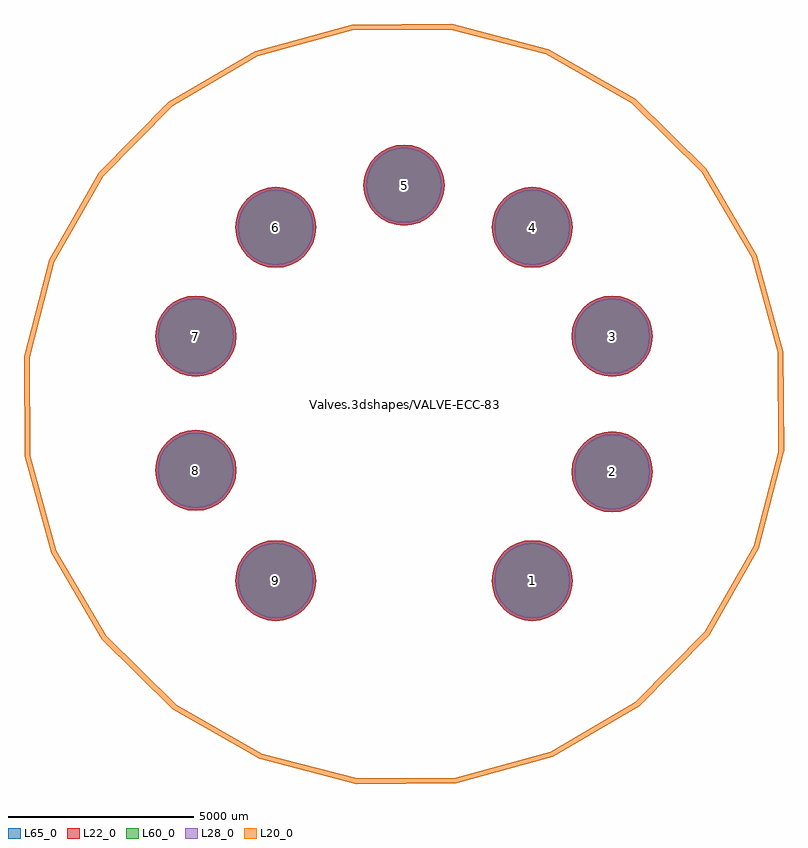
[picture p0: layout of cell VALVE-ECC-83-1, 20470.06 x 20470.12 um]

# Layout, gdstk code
import gdstk
lib = gdstk.Library(unit=1e-6, precision=1e-09)
def P(c, l, *ps):  # polygons
    for p in ps: c.add(gdstk.Polygon(p, *l))
L20_0 = (20, 0)
L22_0 = (22, 0)
L28_0 = (28, 0)
L60_0 = (60, 0)
L65_0 = (65, 0)

valve_ecc_83_1 = lib.new_cell('VALVE-ECC-83-1')
P(valve_ecc_83_1, L22_0, [(-2363.4,-4754.88),(-2384.363,-4542.036),(-2446.447,-4337.372),(-2547.267,-4148.753),(-2682.947,-3983.427),(-2848.273,-3847.747),(-3036.892,-3746.927),(-3241.556,-3684.843),(-3454.4,-3663.88),(-3667.244,-3684.843),(-3871.908,-3746.927),(-4060.527,-3847.747),(-4225.853,-3983.427),(-4361.533,-4148.753),(-4462.353,-4337.372),(-4524.437,-4542.036),(-4545.4,-4754.88),(-4524.437,-4967.724),(-4462.353,-5172.388),(-4361.533,-5361.007),(-4225.853,-5526.333),(-4060.527,-5662.013),(-3871.908,-5762.833),(-3667.244,-5824.917),(-3454.4,-5845.88),(-3241.556,-5824.917),(-3036.892,-5762.833),(-2848.273,-5662.013),(-2682.947,-5526.333),(-2547.267,-5361.007),(-2446.447,-5172.388),(-2384.363,-4967.724)],
  [(-4517.32,-1788.16),(-4538.283,-1575.316),(-4600.367,-1370.652),(-4701.187,-1182.033),(-4836.867,-1016.707),(-5002.193,-881.027),(-5190.812,-780.207),(-5395.476,-718.123),(-5608.32,-697.16),(-5821.164,-718.123),(-6025.828,-780.207),(-6214.447,-881.027),(-6379.773,-1016.707),(-6515.453,-1182.033),(-6616.273,-1370.652),(-6678.357,-1575.316),(-6699.32,-1788.16),(-6678.357,-2001.004),(-6616.273,-2205.668),(-6515.453,-2394.287),(-6379.773,-2559.613),(-6214.447,-2695.293),(-6025.828,-2796.113),(-5821.164,-2858.197),(-5608.32,-2879.16),(-5395.476,-2858.197),(-5190.812,-2796.113),(-5002.193,-2695.293),(-4836.867,-2559.613),(-4701.187,-2394.287),(-4600.367,-2205.668),(-4538.283,-2001.004)],
  [(-4517.32,1828.8),(-4538.283,2041.644),(-4600.367,2246.308),(-4701.187,2434.927),(-4836.867,2600.253),(-5002.193,2735.933),(-5190.812,2836.753),(-5395.476,2898.837),(-5608.32,2919.8),(-5821.164,2898.837),(-6025.828,2836.753),(-6214.447,2735.933),(-6379.773,2600.253),(-6515.453,2434.927),(-6616.273,2246.308),(-6678.357,2041.644),(-6699.32,1828.8),(-6678.357,1615.956),(-6616.273,1411.292),(-6515.453,1222.673),(-6379.773,1057.347),(-6214.447,921.667),(-6025.828,820.847),(-5821.164,758.763),(-5608.32,737.8),(-5395.476,758.763),(-5190.812,820.847),(-5002.193,921.667),(-4836.867,1057.347),(-4701.187,1222.673),(-4600.367,1411.292),(-4538.283,1615.956)],
  [(-2363.4,4754.88),(-2384.363,4967.724),(-2446.447,5172.388),(-2547.267,5361.007),(-2682.947,5526.333),(-2848.273,5662.013),(-3036.892,5762.833),(-3241.556,5824.917),(-3454.4,5845.88),(-3667.244,5824.917),(-3871.908,5762.833),(-4060.527,5662.013),(-4225.853,5526.333),(-4361.533,5361.007),(-4462.353,5172.388),(-4524.437,4967.724),(-4545.4,4754.88),(-4524.437,4542.036),(-4462.353,4337.372),(-4361.533,4148.753),(-4225.853,3983.427),(-4060.527,3847.747),(-3871.908,3746.927),(-3667.244,3684.843),(-3454.4,3663.88),(-3241.556,3684.843),(-3036.892,3746.927),(-2848.273,3847.747),(-2682.947,3983.427),(-2547.267,4148.753),(-2446.447,4337.372),(-2384.363,4542.036)],
  [(1091,5892.8),(1070.037,6105.644),(1007.953,6310.308),(907.133,6498.927),(771.453,6664.253),(606.127,6799.933),(417.508,6900.753),(212.844,6962.837),(0,6983.8),(-212.844,6962.837),(-417.508,6900.753),(-606.127,6799.933),(-771.453,6664.253),(-907.133,6498.927),(-1007.953,6310.308),(-1070.037,6105.644),(-1091,5892.8),(-1070.037,5679.956),(-1007.953,5475.292),(-907.133,5286.673),(-771.453,5121.347),(-606.127,4985.667),(-417.508,4884.847),(-212.844,4822.763),(0,4801.8),(212.844,4822.763),(417.508,4884.847),(606.127,4985.667),(771.453,5121.347),(907.133,5286.673),(1007.953,5475.292),(1070.037,5679.956)],
  [(4545.4,4754.88),(4524.437,4967.724),(4462.353,5172.388),(4361.533,5361.007),(4225.853,5526.333),(4060.527,5662.013),(3871.908,5762.833),(3667.244,5824.917),(3454.4,5845.88),(3241.556,5824.917),(3036.892,5762.833),(2848.273,5662.013),(2682.947,5526.333),(2547.267,5361.007),(2446.447,5172.388),(2384.363,4967.724),(2363.4,4754.88),(2384.363,4542.036),(2446.447,4337.372),(2547.267,4148.753),(2682.947,3983.427),(2848.273,3847.747),(3036.892,3746.927),(3241.556,3684.843),(3454.4,3663.88),(3667.244,3684.843),(3871.908,3746.927),(4060.527,3847.747),(4225.853,3983.427),(4361.533,4148.753),(4462.353,4337.372),(4524.437,4542.036)],
  [(6699.32,1828.8),(6678.357,2041.644),(6616.273,2246.308),(6515.453,2434.927),(6379.773,2600.253),(6214.447,2735.933),(6025.828,2836.753),(5821.164,2898.837),(5608.32,2919.8),(5395.476,2898.837),(5190.812,2836.753),(5002.193,2735.933),(4836.867,2600.253),(4701.187,2434.927),(4600.367,2246.308),(4538.283,2041.644),(4517.32,1828.8),(4538.283,1615.956),(4600.367,1411.292),(4701.187,1222.673),(4836.867,1057.347),(5002.193,921.667),(5190.812,820.847),(5395.476,758.763),(5608.32,737.8),(5821.164,758.763),(6025.828,820.847),(6214.447,921.667),(6379.773,1057.347),(6515.453,1222.673),(6616.273,1411.292),(6678.357,1615.956)],
  [(6699.32,-1828.8),(6678.357,-1615.956),(6616.273,-1411.292),(6515.453,-1222.673),(6379.773,-1057.347),(6214.447,-921.667),(6025.828,-820.847),(5821.164,-758.763),(5608.32,-737.8),(5395.476,-758.763),(5190.812,-820.847),(5002.193,-921.667),(4836.867,-1057.347),(4701.187,-1222.673),(4600.367,-1411.292),(4538.283,-1615.956),(4517.32,-1828.8),(4538.283,-2041.644),(4600.367,-2246.308),(4701.187,-2434.927),(4836.867,-2600.253),(5002.193,-2735.933),(5190.812,-2836.753),(5395.476,-2898.837),(5608.32,-2919.8),(5821.164,-2898.837),(6025.828,-2836.753),(6214.447,-2735.933),(6379.773,-2600.253),(6515.453,-2434.927),(6616.273,-2246.308),(6678.357,-2041.644)],
  [(4545.4,-4754.88),(4524.437,-4542.036),(4462.353,-4337.372),(4361.533,-4148.753),(4225.853,-3983.427),(4060.527,-3847.747),(3871.908,-3746.927),(3667.244,-3684.843),(3454.4,-3663.88),(3241.556,-3684.843),(3036.892,-3746.927),(2848.273,-3847.747),(2682.947,-3983.427),(2547.267,-4148.753),(2446.447,-4337.372),(2384.363,-4542.036),(2363.4,-4754.88),(2384.363,-4967.724),(2446.447,-5172.388),(2547.267,-5361.007),(2682.947,-5526.333),(2848.273,-5662.013),(3036.892,-5762.833),(3241.556,-5824.917),(3454.4,-5845.88),(3667.244,-5824.917),(3871.908,-5762.833),(4060.527,-5662.013),(4225.853,-5526.333),(4361.533,-5361.007),(4462.353,-5172.388),(4524.437,-4967.724)])
P(valve_ecc_83_1, L28_0, [(-2438.4,-4754.88),(-2457.922,-4556.668),(-2515.738,-4366.074),(-2609.627,-4190.421),(-2735.98,-4036.46),(-2889.941,-3910.107),(-3065.594,-3816.218),(-3256.188,-3758.402),(-3454.4,-3738.88),(-3652.612,-3758.402),(-3843.206,-3816.218),(-4018.859,-3910.107),(-4172.82,-4036.46),(-4299.173,-4190.421),(-4393.062,-4366.074),(-4450.878,-4556.668),(-4470.4,-4754.88),(-4450.878,-4953.092),(-4393.062,-5143.686),(-4299.173,-5319.339),(-4172.82,-5473.3),(-4018.859,-5599.653),(-3843.206,-5693.542),(-3652.612,-5751.358),(-3454.4,-5770.88),(-3256.188,-5751.358),(-3065.594,-5693.542),(-2889.941,-5599.653),(-2735.98,-5473.3),(-2609.627,-5319.339),(-2515.738,-5143.686),(-2457.922,-4953.092)],
  [(-4592.32,-1788.16),(-4611.842,-1589.948),(-4669.658,-1399.354),(-4763.547,-1223.701),(-4889.9,-1069.74),(-5043.861,-943.387),(-5219.514,-849.498),(-5410.108,-791.682),(-5608.32,-772.16),(-5806.532,-791.682),(-5997.126,-849.498),(-6172.779,-943.387),(-6326.74,-1069.74),(-6453.093,-1223.701),(-6546.982,-1399.354),(-6604.798,-1589.948),(-6624.32,-1788.16),(-6604.798,-1986.372),(-6546.982,-2176.966),(-6453.093,-2352.619),(-6326.74,-2506.58),(-6172.779,-2632.933),(-5997.126,-2726.822),(-5806.532,-2784.638),(-5608.32,-2804.16),(-5410.108,-2784.638),(-5219.514,-2726.822),(-5043.861,-2632.933),(-4889.9,-2506.58),(-4763.547,-2352.619),(-4669.658,-2176.966),(-4611.842,-1986.372)],
  [(-4592.32,1828.8),(-4611.842,2027.012),(-4669.658,2217.606),(-4763.547,2393.259),(-4889.9,2547.22),(-5043.861,2673.573),(-5219.514,2767.462),(-5410.108,2825.278),(-5608.32,2844.8),(-5806.532,2825.278),(-5997.126,2767.462),(-6172.779,2673.573),(-6326.74,2547.22),(-6453.093,2393.259),(-6546.982,2217.606),(-6604.798,2027.012),(-6624.32,1828.8),(-6604.798,1630.588),(-6546.982,1439.994),(-6453.093,1264.341),(-6326.74,1110.38),(-6172.779,984.027),(-5997.126,890.138),(-5806.532,832.322),(-5608.32,812.8),(-5410.108,832.322),(-5219.514,890.138),(-5043.861,984.027),(-4889.9,1110.38),(-4763.547,1264.341),(-4669.658,1439.994),(-4611.842,1630.588)],
  [(-2438.4,4754.88),(-2457.922,4953.092),(-2515.738,5143.686),(-2609.627,5319.339),(-2735.98,5473.3),(-2889.941,5599.653),(-3065.594,5693.542),(-3256.188,5751.358),(-3454.4,5770.88),(-3652.612,5751.358),(-3843.206,5693.542),(-4018.859,5599.653),(-4172.82,5473.3),(-4299.173,5319.339),(-4393.062,5143.686),(-4450.878,4953.092),(-4470.4,4754.88),(-4450.878,4556.668),(-4393.062,4366.074),(-4299.173,4190.421),(-4172.82,4036.46),(-4018.859,3910.107),(-3843.206,3816.218),(-3652.612,3758.402),(-3454.4,3738.88),(-3256.188,3758.402),(-3065.594,3816.218),(-2889.941,3910.107),(-2735.98,4036.46),(-2609.627,4190.421),(-2515.738,4366.074),(-2457.922,4556.668)],
  [(1016,5892.8),(996.478,6091.012),(938.662,6281.606),(844.773,6457.259),(718.42,6611.22),(564.459,6737.573),(388.806,6831.462),(198.212,6889.278),(0,6908.8),(-198.212,6889.278),(-388.806,6831.462),(-564.459,6737.573),(-718.42,6611.22),(-844.773,6457.259),(-938.662,6281.606),(-996.478,6091.012),(-1016,5892.8),(-996.478,5694.588),(-938.662,5503.994),(-844.773,5328.341),(-718.42,5174.38),(-564.459,5048.027),(-388.806,4954.138),(-198.212,4896.322),(0,4876.8),(198.212,4896.322),(388.806,4954.138),(564.459,5048.027),(718.42,5174.38),(844.773,5328.341),(938.662,5503.994),(996.478,5694.588)],
  [(4470.4,4754.88),(4450.878,4953.092),(4393.062,5143.686),(4299.173,5319.339),(4172.82,5473.3),(4018.859,5599.653),(3843.206,5693.542),(3652.612,5751.358),(3454.4,5770.88),(3256.188,5751.358),(3065.594,5693.542),(2889.941,5599.653),(2735.98,5473.3),(2609.627,5319.339),(2515.738,5143.686),(2457.922,4953.092),(2438.4,4754.88),(2457.922,4556.668),(2515.738,4366.074),(2609.627,4190.421),(2735.98,4036.46),(2889.941,3910.107),(3065.594,3816.218),(3256.188,3758.402),(3454.4,3738.88),(3652.612,3758.402),(3843.206,3816.218),(4018.859,3910.107),(4172.82,4036.46),(4299.173,4190.421),(4393.062,4366.074),(4450.878,4556.668)],
  [(6624.32,1828.8),(6604.798,2027.012),(6546.982,2217.606),(6453.093,2393.259),(6326.74,2547.22),(6172.779,2673.573),(5997.126,2767.462),(5806.532,2825.278),(5608.32,2844.8),(5410.108,2825.278),(5219.514,2767.462),(5043.861,2673.573),(4889.9,2547.22),(4763.547,2393.259),(4669.658,2217.606),(4611.842,2027.012),(4592.32,1828.8),(4611.842,1630.588),(4669.658,1439.994),(4763.547,1264.341),(4889.9,1110.38),(5043.861,984.027),(5219.514,890.138),(5410.108,832.322),(5608.32,812.8),(5806.532,832.322),(5997.126,890.138),(6172.779,984.027),(6326.74,1110.38),(6453.093,1264.341),(6546.982,1439.994),(6604.798,1630.588)],
  [(6624.32,-1828.8),(6604.798,-1630.588),(6546.982,-1439.994),(6453.093,-1264.341),(6326.74,-1110.38),(6172.779,-984.027),(5997.126,-890.138),(5806.532,-832.322),(5608.32,-812.8),(5410.108,-832.322),(5219.514,-890.138),(5043.861,-984.027),(4889.9,-1110.38),(4763.547,-1264.341),(4669.658,-1439.994),(4611.842,-1630.588),(4592.32,-1828.8),(4611.842,-2027.012),(4669.658,-2217.606),(4763.547,-2393.259),(4889.9,-2547.22),(5043.861,-2673.573),(5219.514,-2767.462),(5410.108,-2825.278),(5608.32,-2844.8),(5806.532,-2825.278),(5997.126,-2767.462),(6172.779,-2673.573),(6326.74,-2547.22),(6453.093,-2393.259),(6546.982,-2217.606),(6604.798,-2027.012)],
  [(4470.4,-4754.88),(4450.878,-4556.668),(4393.062,-4366.074),(4299.173,-4190.421),(4172.82,-4036.46),(4018.859,-3910.107),(3843.206,-3816.218),(3652.612,-3758.402),(3454.4,-3738.88),(3256.188,-3758.402),(3065.594,-3816.218),(2889.941,-3910.107),(2735.98,-4036.46),(2609.627,-4190.421),(2515.738,-4366.074),(2457.922,-4556.668),(2438.4,-4754.88),(2457.922,-4953.092),(2515.738,-5143.686),(2609.627,-5319.339),(2735.98,-5473.3),(2889.941,-5599.653),(3065.594,-5693.542),(3256.188,-5751.358),(3454.4,-5770.88),(3652.612,-5751.358),(3843.206,-5693.542),(4018.859,-5599.653),(4172.82,-5473.3),(4299.173,-5319.339),(4393.062,-5143.686),(4450.878,-4953.092)])
P(valve_ecc_83_1, L60_0, [(-2438.4,-4754.88),(-2457.922,-4556.668),(-2515.738,-4366.074),(-2609.627,-4190.421),(-2735.98,-4036.46),(-2889.941,-3910.107),(-3065.594,-3816.218),(-3256.188,-3758.402),(-3454.4,-3738.88),(-3652.612,-3758.402),(-3843.206,-3816.218),(-4018.859,-3910.107),(-4172.82,-4036.46),(-4299.173,-4190.421),(-4393.062,-4366.074),(-4450.878,-4556.668),(-4470.4,-4754.88),(-4450.878,-4953.092),(-4393.062,-5143.686),(-4299.173,-5319.339),(-4172.82,-5473.3),(-4018.859,-5599.653),(-3843.206,-5693.542),(-3652.612,-5751.358),(-3454.4,-5770.88),(-3256.188,-5751.358),(-3065.594,-5693.542),(-2889.941,-5599.653),(-2735.98,-5473.3),(-2609.627,-5319.339),(-2515.738,-5143.686),(-2457.922,-4953.092)],
  [(-4592.32,-1788.16),(-4611.842,-1589.948),(-4669.658,-1399.354),(-4763.547,-1223.701),(-4889.9,-1069.74),(-5043.861,-943.387),(-5219.514,-849.498),(-5410.108,-791.682),(-5608.32,-772.16),(-5806.532,-791.682),(-5997.126,-849.498),(-6172.779,-943.387),(-6326.74,-1069.74),(-6453.093,-1223.701),(-6546.982,-1399.354),(-6604.798,-1589.948),(-6624.32,-1788.16),(-6604.798,-1986.372),(-6546.982,-2176.966),(-6453.093,-2352.619),(-6326.74,-2506.58),(-6172.779,-2632.933),(-5997.126,-2726.822),(-5806.532,-2784.638),(-5608.32,-2804.16),(-5410.108,-2784.638),(-5219.514,-2726.822),(-5043.861,-2632.933),(-4889.9,-2506.58),(-4763.547,-2352.619),(-4669.658,-2176.966),(-4611.842,-1986.372)],
  [(-4592.32,1828.8),(-4611.842,2027.012),(-4669.658,2217.606),(-4763.547,2393.259),(-4889.9,2547.22),(-5043.861,2673.573),(-5219.514,2767.462),(-5410.108,2825.278),(-5608.32,2844.8),(-5806.532,2825.278),(-5997.126,2767.462),(-6172.779,2673.573),(-6326.74,2547.22),(-6453.093,2393.259),(-6546.982,2217.606),(-6604.798,2027.012),(-6624.32,1828.8),(-6604.798,1630.588),(-6546.982,1439.994),(-6453.093,1264.341),(-6326.74,1110.38),(-6172.779,984.027),(-5997.126,890.138),(-5806.532,832.322),(-5608.32,812.8),(-5410.108,832.322),(-5219.514,890.138),(-5043.861,984.027),(-4889.9,1110.38),(-4763.547,1264.341),(-4669.658,1439.994),(-4611.842,1630.588)],
  [(-2438.4,4754.88),(-2457.922,4953.092),(-2515.738,5143.686),(-2609.627,5319.339),(-2735.98,5473.3),(-2889.941,5599.653),(-3065.594,5693.542),(-3256.188,5751.358),(-3454.4,5770.88),(-3652.612,5751.358),(-3843.206,5693.542),(-4018.859,5599.653),(-4172.82,5473.3),(-4299.173,5319.339),(-4393.062,5143.686),(-4450.878,4953.092),(-4470.4,4754.88),(-4450.878,4556.668),(-4393.062,4366.074),(-4299.173,4190.421),(-4172.82,4036.46),(-4018.859,3910.107),(-3843.206,3816.218),(-3652.612,3758.402),(-3454.4,3738.88),(-3256.188,3758.402),(-3065.594,3816.218),(-2889.941,3910.107),(-2735.98,4036.46),(-2609.627,4190.421),(-2515.738,4366.074),(-2457.922,4556.668)],
  [(1016,5892.8),(996.478,6091.012),(938.662,6281.606),(844.773,6457.259),(718.42,6611.22),(564.459,6737.573),(388.806,6831.462),(198.212,6889.278),(0,6908.8),(-198.212,6889.278),(-388.806,6831.462),(-564.459,6737.573),(-718.42,6611.22),(-844.773,6457.259),(-938.662,6281.606),(-996.478,6091.012),(-1016,5892.8),(-996.478,5694.588),(-938.662,5503.994),(-844.773,5328.341),(-718.42,5174.38),(-564.459,5048.027),(-388.806,4954.138),(-198.212,4896.322),(0,4876.8),(198.212,4896.322),(388.806,4954.138),(564.459,5048.027),(718.42,5174.38),(844.773,5328.341),(938.662,5503.994),(996.478,5694.588)],
  [(4470.4,4754.88),(4450.878,4953.092),(4393.062,5143.686),(4299.173,5319.339),(4172.82,5473.3),(4018.859,5599.653),(3843.206,5693.542),(3652.612,5751.358),(3454.4,5770.88),(3256.188,5751.358),(3065.594,5693.542),(2889.941,5599.653),(2735.98,5473.3),(2609.627,5319.339),(2515.738,5143.686),(2457.922,4953.092),(2438.4,4754.88),(2457.922,4556.668),(2515.738,4366.074),(2609.627,4190.421),(2735.98,4036.46),(2889.941,3910.107),(3065.594,3816.218),(3256.188,3758.402),(3454.4,3738.88),(3652.612,3758.402),(3843.206,3816.218),(4018.859,3910.107),(4172.82,4036.46),(4299.173,4190.421),(4393.062,4366.074),(4450.878,4556.668)],
  [(6624.32,1828.8),(6604.798,2027.012),(6546.982,2217.606),(6453.093,2393.259),(6326.74,2547.22),(6172.779,2673.573),(5997.126,2767.462),(5806.532,2825.278),(5608.32,2844.8),(5410.108,2825.278),(5219.514,2767.462),(5043.861,2673.573),(4889.9,2547.22),(4763.547,2393.259),(4669.658,2217.606),(4611.842,2027.012),(4592.32,1828.8),(4611.842,1630.588),(4669.658,1439.994),(4763.547,1264.341),(4889.9,1110.38),(5043.861,984.027),(5219.514,890.138),(5410.108,832.322),(5608.32,812.8),(5806.532,832.322),(5997.126,890.138),(6172.779,984.027),(6326.74,1110.38),(6453.093,1264.341),(6546.982,1439.994),(6604.798,1630.588)],
  [(6624.32,-1828.8),(6604.798,-1630.588),(6546.982,-1439.994),(6453.093,-1264.341),(6326.74,-1110.38),(6172.779,-984.027),(5997.126,-890.138),(5806.532,-832.322),(5608.32,-812.8),(5410.108,-832.322),(5219.514,-890.138),(5043.861,-984.027),(4889.9,-1110.38),(4763.547,-1264.341),(4669.658,-1439.994),(4611.842,-1630.588),(4592.32,-1828.8),(4611.842,-2027.012),(4669.658,-2217.606),(4763.547,-2393.259),(4889.9,-2547.22),(5043.861,-2673.573),(5219.514,-2767.462),(5410.108,-2825.278),(5608.32,-2844.8),(5806.532,-2825.278),(5997.126,-2767.462),(6172.779,-2673.573),(6326.74,-2547.22),(6453.093,-2393.259),(6546.982,-2217.606),(6604.798,-2027.012)],
  [(4470.4,-4754.88),(4450.878,-4556.668),(4393.062,-4366.074),(4299.173,-4190.421),(4172.82,-4036.46),(4018.859,-3910.107),(3843.206,-3816.218),(3652.612,-3758.402),(3454.4,-3738.88),(3256.188,-3758.402),(3065.594,-3816.218),(2889.941,-3910.107),(2735.98,-4036.46),(2609.627,-4190.421),(2515.738,-4366.074),(2457.922,-4556.668),(2438.4,-4754.88),(2457.922,-4953.092),(2515.738,-5143.686),(2609.627,-5319.339),(2735.98,-5473.3),(2889.941,-5599.653),(3065.594,-5693.542),(3256.188,-5751.358),(3454.4,-5770.88),(3652.612,-5751.358),(3843.206,-5693.542),(4018.859,-5599.653),(4172.82,-5473.3),(4299.173,-5319.339),(4393.062,-5143.686),(4450.878,-4953.092)])
P(valve_ecc_83_1, L65_0, [(-2363.4,-4754.88),(-2384.363,-4542.036),(-2446.447,-4337.372),(-2547.267,-4148.753),(-2682.947,-3983.427),(-2848.273,-3847.747),(-3036.892,-3746.927),(-3241.556,-3684.843),(-3454.4,-3663.88),(-3667.244,-3684.843),(-3871.908,-3746.927),(-4060.527,-3847.747),(-4225.853,-3983.427),(-4361.533,-4148.753),(-4462.353,-4337.372),(-4524.437,-4542.036),(-4545.4,-4754.88),(-4524.437,-4967.724),(-4462.353,-5172.388),(-4361.533,-5361.007),(-4225.853,-5526.333),(-4060.527,-5662.013),(-3871.908,-5762.833),(-3667.244,-5824.917),(-3454.4,-5845.88),(-3241.556,-5824.917),(-3036.892,-5762.833),(-2848.273,-5662.013),(-2682.947,-5526.333),(-2547.267,-5361.007),(-2446.447,-5172.388),(-2384.363,-4967.724)],
  [(-4517.32,-1788.16),(-4538.283,-1575.316),(-4600.367,-1370.652),(-4701.187,-1182.033),(-4836.867,-1016.707),(-5002.193,-881.027),(-5190.812,-780.207),(-5395.476,-718.123),(-5608.32,-697.16),(-5821.164,-718.123),(-6025.828,-780.207),(-6214.447,-881.027),(-6379.773,-1016.707),(-6515.453,-1182.033),(-6616.273,-1370.652),(-6678.357,-1575.316),(-6699.32,-1788.16),(-6678.357,-2001.004),(-6616.273,-2205.668),(-6515.453,-2394.287),(-6379.773,-2559.613),(-6214.447,-2695.293),(-6025.828,-2796.113),(-5821.164,-2858.197),(-5608.32,-2879.16),(-5395.476,-2858.197),(-5190.812,-2796.113),(-5002.193,-2695.293),(-4836.867,-2559.613),(-4701.187,-2394.287),(-4600.367,-2205.668),(-4538.283,-2001.004)],
  [(-4517.32,1828.8),(-4538.283,2041.644),(-4600.367,2246.308),(-4701.187,2434.927),(-4836.867,2600.253),(-5002.193,2735.933),(-5190.812,2836.753),(-5395.476,2898.837),(-5608.32,2919.8),(-5821.164,2898.837),(-6025.828,2836.753),(-6214.447,2735.933),(-6379.773,2600.253),(-6515.453,2434.927),(-6616.273,2246.308),(-6678.357,2041.644),(-6699.32,1828.8),(-6678.357,1615.956),(-6616.273,1411.292),(-6515.453,1222.673),(-6379.773,1057.347),(-6214.447,921.667),(-6025.828,820.847),(-5821.164,758.763),(-5608.32,737.8),(-5395.476,758.763),(-5190.812,820.847),(-5002.193,921.667),(-4836.867,1057.347),(-4701.187,1222.673),(-4600.367,1411.292),(-4538.283,1615.956)],
  [(-2363.4,4754.88),(-2384.363,4967.724),(-2446.447,5172.388),(-2547.267,5361.007),(-2682.947,5526.333),(-2848.273,5662.013),(-3036.892,5762.833),(-3241.556,5824.917),(-3454.4,5845.88),(-3667.244,5824.917),(-3871.908,5762.833),(-4060.527,5662.013),(-4225.853,5526.333),(-4361.533,5361.007),(-4462.353,5172.388),(-4524.437,4967.724),(-4545.4,4754.88),(-4524.437,4542.036),(-4462.353,4337.372),(-4361.533,4148.753),(-4225.853,3983.427),(-4060.527,3847.747),(-3871.908,3746.927),(-3667.244,3684.843),(-3454.4,3663.88),(-3241.556,3684.843),(-3036.892,3746.927),(-2848.273,3847.747),(-2682.947,3983.427),(-2547.267,4148.753),(-2446.447,4337.372),(-2384.363,4542.036)],
  [(1091,5892.8),(1070.037,6105.644),(1007.953,6310.308),(907.133,6498.927),(771.453,6664.253),(606.127,6799.933),(417.508,6900.753),(212.844,6962.837),(0,6983.8),(-212.844,6962.837),(-417.508,6900.753),(-606.127,6799.933),(-771.453,6664.253),(-907.133,6498.927),(-1007.953,6310.308),(-1070.037,6105.644),(-1091,5892.8),(-1070.037,5679.956),(-1007.953,5475.292),(-907.133,5286.673),(-771.453,5121.347),(-606.127,4985.667),(-417.508,4884.847),(-212.844,4822.763),(0,4801.8),(212.844,4822.763),(417.508,4884.847),(606.127,4985.667),(771.453,5121.347),(907.133,5286.673),(1007.953,5475.292),(1070.037,5679.956)],
  [(4545.4,4754.88),(4524.437,4967.724),(4462.353,5172.388),(4361.533,5361.007),(4225.853,5526.333),(4060.527,5662.013),(3871.908,5762.833),(3667.244,5824.917),(3454.4,5845.88),(3241.556,5824.917),(3036.892,5762.833),(2848.273,5662.013),(2682.947,5526.333),(2547.267,5361.007),(2446.447,5172.388),(2384.363,4967.724),(2363.4,4754.88),(2384.363,4542.036),(2446.447,4337.372),(2547.267,4148.753),(2682.947,3983.427),(2848.273,3847.747),(3036.892,3746.927),(3241.556,3684.843),(3454.4,3663.88),(3667.244,3684.843),(3871.908,3746.927),(4060.527,3847.747),(4225.853,3983.427),(4361.533,4148.753),(4462.353,4337.372),(4524.437,4542.036)],
  [(6699.32,1828.8),(6678.357,2041.644),(6616.273,2246.308),(6515.453,2434.927),(6379.773,2600.253),(6214.447,2735.933),(6025.828,2836.753),(5821.164,2898.837),(5608.32,2919.8),(5395.476,2898.837),(5190.812,2836.753),(5002.193,2735.933),(4836.867,2600.253),(4701.187,2434.927),(4600.367,2246.308),(4538.283,2041.644),(4517.32,1828.8),(4538.283,1615.956),(4600.367,1411.292),(4701.187,1222.673),(4836.867,1057.347),(5002.193,921.667),(5190.812,820.847),(5395.476,758.763),(5608.32,737.8),(5821.164,758.763),(6025.828,820.847),(6214.447,921.667),(6379.773,1057.347),(6515.453,1222.673),(6616.273,1411.292),(6678.357,1615.956)],
  [(6699.32,-1828.8),(6678.357,-1615.956),(6616.273,-1411.292),(6515.453,-1222.673),(6379.773,-1057.347),(6214.447,-921.667),(6025.828,-820.847),(5821.164,-758.763),(5608.32,-737.8),(5395.476,-758.763),(5190.812,-820.847),(5002.193,-921.667),(4836.867,-1057.347),(4701.187,-1222.673),(4600.367,-1411.292),(4538.283,-1615.956),(4517.32,-1828.8),(4538.283,-2041.644),(4600.367,-2246.308),(4701.187,-2434.927),(4836.867,-2600.253),(5002.193,-2735.933),(5190.812,-2836.753),(5395.476,-2898.837),(5608.32,-2919.8),(5821.164,-2898.837),(6025.828,-2836.753),(6214.447,-2735.933),(6379.773,-2600.253),(6515.453,-2434.927),(6616.273,-2246.308),(6678.357,-2041.644)],
  [(4545.4,-4754.88),(4524.437,-4542.036),(4462.353,-4337.372),(4361.533,-4148.753),(4225.853,-3983.427),(4060.527,-3847.747),(3871.908,-3746.927),(3667.244,-3684.843),(3454.4,-3663.88),(3241.556,-3684.843),(3036.892,-3746.927),(2848.273,-3847.747),(2682.947,-3983.427),(2547.267,-4148.753),(2446.447,-4337.372),(2384.363,-4542.036),(2363.4,-4754.88),(2384.363,-4967.724),(2446.447,-5172.388),(2547.267,-5361.007),(2682.947,-5526.333),(2848.273,-5662.013),(3036.892,-5762.833),(3241.556,-5824.917),(3454.4,-5845.88),(3667.244,-5824.917),(3871.908,-5762.833),(4060.527,-5662.013),(4225.853,-5526.333),(4361.533,-5361.007),(4462.353,-5172.388),(4524.437,-4967.724)])
valve_ecc_83_1.add(gdstk.FlexPath([(10160,-1270),(10142.507,1402.876),(9433.818,3980.148),(8082.231,6286.179),(6179.852,8163.818),(3856.327,9485.106),(1270,10160),(-1402.876,10142.507),(-3980.148,9433.818),(-6286.179,8082.231),(-8163.818,6179.852),(-9485.106,3856.327),(-10160,1270),(-10142.507,-1402.876),(-9433.818,-3980.148),(-8082.231,-6286.179),(-6179.852,-8163.818),(-3856.327,-9485.106),(-1270,-10160),(1402.876,-10142.507),(3980.148,-9433.818),(6286.179,-8082.231),(8163.818,-6179.852),(9485.106,-3856.327),(10160,-1270)], 149.998, ends="flush", simple_path=True, layer=20, datatype=0))  # L20_0
valve_ecc_83_1.add(gdstk.Label('Valves.3dshapes/VALVE-ECC-83-1.wrl', (0,0), layer=12, texttype=0))
valve_ecc_83_1.add(gdstk.Label('9', (-3454.4,-4754.88), layer=28, texttype=0))
valve_ecc_83_1.add(gdstk.Label('8', (-5608.32,-1788.16), layer=28, texttype=0))
valve_ecc_83_1.add(gdstk.Label('7', (-5608.32,1828.8), layer=28, texttype=0))
valve_ecc_83_1.add(gdstk.Label('6', (-3454.4,4754.88), layer=28, texttype=0))
valve_ecc_83_1.add(gdstk.Label('5', (0,5892.8), layer=28, texttype=0))
valve_ecc_83_1.add(gdstk.Label('4', (3454.4,4754.88), layer=28, texttype=0))
valve_ecc_83_1.add(gdstk.Label('3', (5608.32,1828.8), layer=28, texttype=0))
valve_ecc_83_1.add(gdstk.Label('2', (5608.32,-1828.8), layer=28, texttype=0))
valve_ecc_83_1.add(gdstk.Label('1', (3454.4,-4754.88), layer=28, texttype=0))
valve_ecc_83_1.add(gdstk.Label('type', (0,-11430), layer=9, texttype=0))
valve_ecc_83_1.add(gdstk.Label('devicename', (1270,11430), layer=9, texttype=0))

lib.write_gds('VALVE-ECC-83-1.gds')
